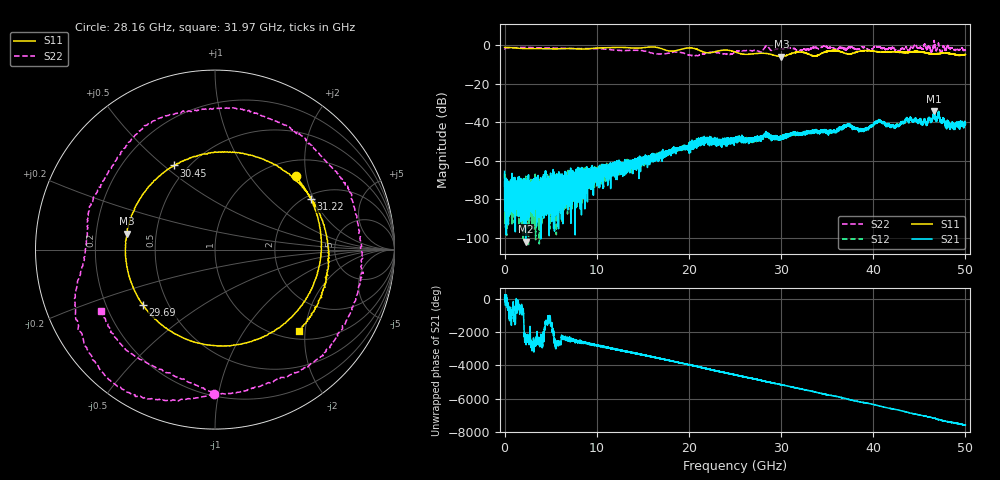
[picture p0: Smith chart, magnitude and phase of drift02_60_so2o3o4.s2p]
!Created with skrf (http://scikit-rf.org).
# Hz S RI R 50.0
!freq ReS11 ImS11 ReS21 ImS21 ReS12 ImS12 ReS22 ImS22
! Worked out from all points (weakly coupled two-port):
!   10001 points, 300 kHz to 50 GHz, reference 50 ohm
!   highest |S21| = -34.36 dB at 46.58 GHz (marker M1); lowest = -101.8 dB at 2.285 GHz (marker M2)
!   lowest |S11| = -6.1 dB at 30.05 GHz (marker M3), VSWR 2.98, Z = 16.9 + j4 ohm
!   |S11| at or under -10 dB: nowhere
!   |S22| runs from -5.7 to 2.3 dB; largest |S21 - S12| = 0.0031
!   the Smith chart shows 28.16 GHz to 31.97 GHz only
!   S11 on the Smith chart (normalised r, x): 28.16 GHz: 1.35, +1.74; 29.69 GHz: 0.36, -0.30; 30.45 GHz: 0.42, +0.54; 31.22 GHz: 2.14, +1.91; 31.97 GHz: 1.17, -1.86
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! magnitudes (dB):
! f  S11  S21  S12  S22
! 300 kHz  -1.3  -65.5  -66.5  -2.0
! 305.3 MHz  -1.3  -75.4  -83.4  -1.4
! 2.285 GHz  -1.9  -101.8  -81.2  -1.3
! 6.19 GHz  -2.0  -86.0  -73.0  -1.7
! 8.335 GHz  -2.2  -88.0  -67.6  -1.9
! 16.67 GHz  -1.5  -60.3  -57.2  -4.7
! 21.58 GHz  -3.7  -50.8  -49.6  -4.6
! 25 GHz  -3.7  -48.0  -48.8  -3.9
! 28.16 GHz  -4.3  -47.3  -46.8  -1.9
! 29.69 GHz  -5.9  -48.2  -48.7  -2.1
! 30.05 GHz  -6.1  -47.6  -49.0  -2.0
! 30.45 GHz  -5.7  -47.2  -47.0  -1.7
! 31.22 GHz  -4.4  -45.7  -46.4  -1.8
! 31.97 GHz  -3.7  -46.3  -45.9  -2.8
! 33.34 GHz  -5.5  -45.5  -44.9  -1.6
! 37.3 GHz  -4.7  -41.7  -41.3  -1.4
! 38.82 GHz  -3.1  -44.5  -44.0  -1.1
! 40.64 GHz  -3.7  -39.1  -39.0  -0.9
! 41.67 GHz  -3.6  -41.1  -40.8  -1.9
! 46.58 GHz  -4.7  -34.4  -34.4  1.6
! 48.1 GHz  -4.3  -40.1  -39.8  -0.4
! 50 GHz  -5.0  -40.7  -39.8  -2.7
